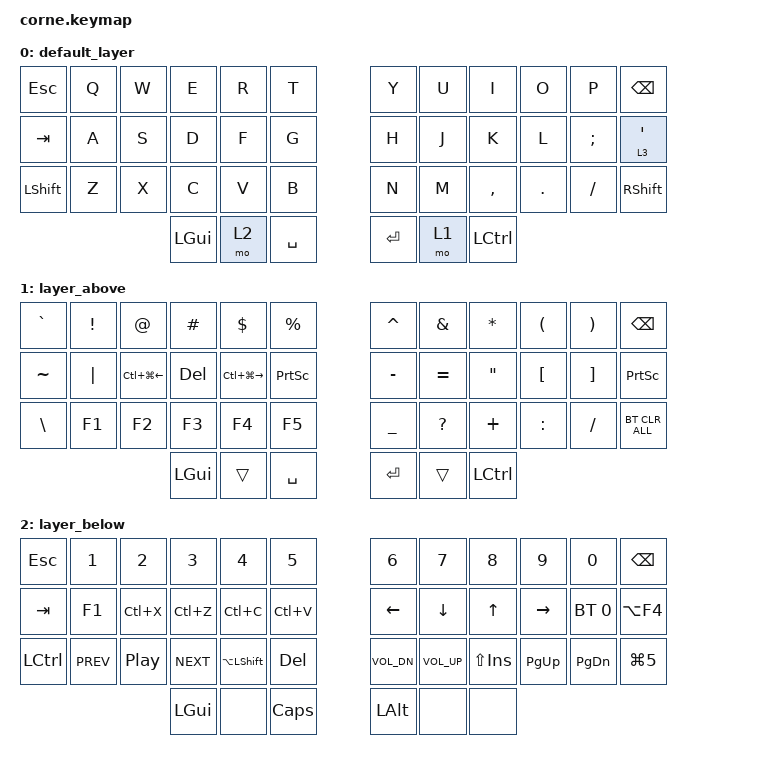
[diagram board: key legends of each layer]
/*
 * Copyright (c) 2020 The ZMK Contributors
 *
 * SPDX-License-Identifier: MIT
 */

#include <behaviors.dtsi>
#include <dt-bindings/zmk/bt.h>
#include <dt-bindings/zmk/keys.h>

/ {
    behaviors {
        tp: tap_preferred {
            compatible = "zmk,behavior-hold-tap";
            label = "TAP_PREFERRED";
            #binding-cells = <2>;
            tapping-term-ms = <150>;
            quick-tap-ms = <0>;
            flavor = "tap-preferred";
            bindings = <&kp>, <&kp>;
        };
    };

    keymap {
        compatible = "zmk,keymap";

        default_layer {
            // -----------------------------------------------------------------------------------------
            // | TAB  |  Q  |  W  |  E  |  R  |    T    |   |  Y  |  U   |  I  |  O  |  P  | ESC |
            // | CTRL |  A  |  S  |  D  |  F  |    G    |   |  H  |  J   |  K  |  L  |  ;  |  LWR/'   |
            // | SHFT |  Z  |  X  |  C  |  V  |    B    |   |  N  |  M   |  ,  |  .  |  /  | SHFT |
            //                    | GUI | LWR | ALT/ENT |   | HYPER/SPC | BKSP  | RSE |

            bindings = <
&kp ESCAPE      &kp Q  &kp W  &kp E     &kp R  &kp T        &kp Y      &kp U  &kp I      &kp O    &kp P     &kp BACKSPACE
&kp TAB         &kp A  &kp S  &kp D     &kp F  &kp G        &kp H      &kp J  &kp K      &kp L    &kp SEMI  &lt 3 SQT
&kp LEFT_SHIFT  &kp Z  &kp X  &kp C     &kp V  &kp B        &kp N      &kp M  &kp COMMA  &kp DOT  &kp FSLH  &kp RSHFT
                              &kp LGUI  &mo 2  &kp SPACE    &kp ENTER  &mo 1  &kp LCTRL
            >;
        };

        layer_above {
            // -----------------------------------------------------------------------------------------
            // |       |  F1  |  F2  |  F3  |  F4  |  F5 |            |  F6  |  F7  |  F8  |  F9  |  F10  |   |
            // |       | Prev | Next | Vol - | Vol + | Play/Pause |   |      | LFT | DWN |  UP | RGT |     |     |
            // | BTCLR | BT1 | BT2 | BT3 | BT4 | BT5 |   |            |     |     |     |     |     |     |
            //                    |     |     |    |                  |     |     |     |

            bindings = <
&kp GRAVE      &kp EXCLAMATION  &kp AT_SIGN       &kp HASH  &kp DOLLAR         &kp PERCENT        &kp CARET       &kp AMPERSAND  &kp ASTERISK       &kp LEFT_PARENTHESIS  &kp RIGHT_PARENTHESIS  &kp BACKSPACE
&kp TILDE      &kp PIPE         &kp LC(LG(LEFT))  &kp DEL   &kp LC(LG(RIGHT))  &kp PRINTSCREEN    &kp MINUS       &kp EQUAL      &kp DOUBLE_QUOTES  &kp LEFT_BRACKET      &kp RIGHT_BRACKET      &kp PRINTSCREEN
&kp BACKSLASH  &kp F1           &kp F2            &kp F3    &kp F4             &kp F5             &kp UNDERSCORE  &kp QUESTION   &kp PLUS           &kp COLON             &kp SLASH              &bt BT_CLR_ALL
                                                  &kp LGUI  &trans             &kp SPACE          &kp ENTER       &trans         &kp LCTRL
            >;
        };

        layer_below {
            // -----------------------------------------------------------------------------------------
            // |      |  !  |  @  |  #  |  $  |    %     |   |  ^  |  &  |  *  |  (  |  )  |   \   |
            // |      |  1  |  2  |  3  |  4  |    5     |   |  -  |  =  |  `  |  [  |  ]  |  "|"  |
            // | SHFT |  6  |  7  |  8  |  9  |    0     |   |  _  |  +  |  ~  |  {  |  }  | RSHFT |
            //                     | GUI |     | ALT/ENT |   | HYPER/SPACE | BKSP |    |

            bindings = <
&kp ESCAPE  &kp NUMBER_1  &kp NUMBER_2  &kp NUMBER_3  &kp NUMBER_4        &kp N5          &kp NUMBER_6  &kp N7           &kp N8          &kp N9       &kp N0         &kp BACKSPACE
&kp TAB     &kp F1        &kp LC(X)     &kp LC(Z)     &kp LC(C)           &kp LC(V)       &kp LEFT      &kp DOWN_ARROW   &kp UP_ARROW    &kp RIGHT    &bt BT_SEL 0   &kp LA(F4)
&kp LCTRL   &kp C_PREV    &kp C_PP      &kp C_NEXT    &kp LA(LEFT_SHIFT)  &kp DEL         &kp C_VOL_DN  &kp C_VOLUME_UP  &kp LS(INSERT)  &kp PAGE_UP  &kp PAGE_DOWN  &kp LG(NUMBER_5)
                                        &kp LGUI      &none               &kp CAPSLOCK    &kp LEFT_ALT  &none            &none
            >;
        };
    };
};
